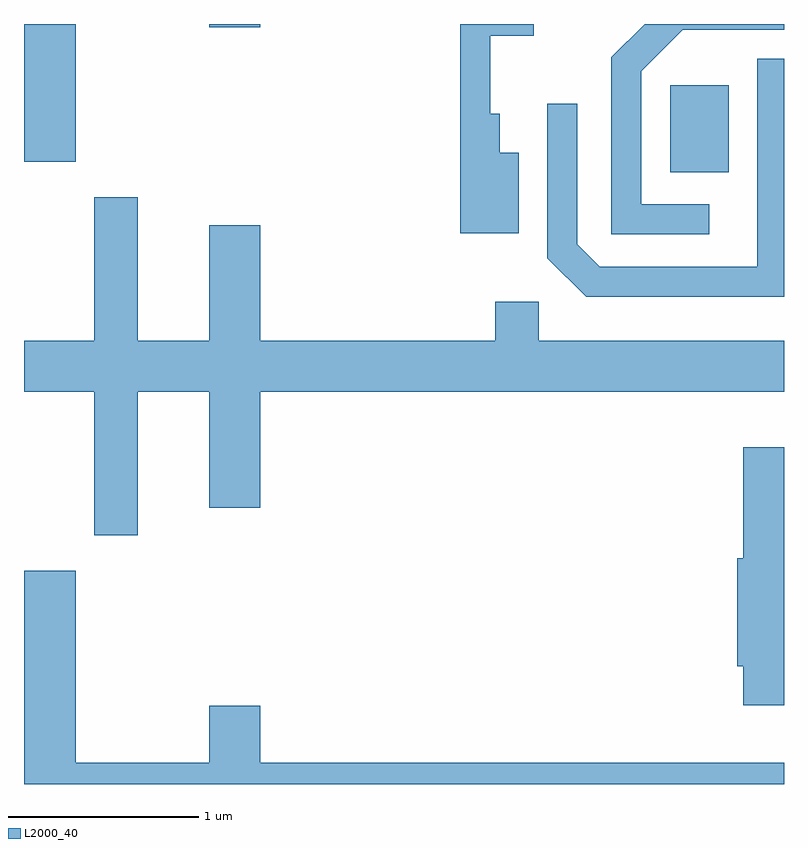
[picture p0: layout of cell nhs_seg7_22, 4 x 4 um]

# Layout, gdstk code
import gdstk
lib = gdstk.Library(unit=1e-6, precision=1e-09)
def R(c, l, rs):  # rectangles x0, y0, x1, y1
    for r in rs: c.add(gdstk.rectangle(r[:2], r[2:], *l))
def P(c, l, *ps):  # polygons
    for p in ps: c.add(gdstk.Polygon(p, *l))
L2000_40 = (2000, 40)

nhs_seg7_22 = lib.new_cell('nhs_seg7_22')
R(nhs_seg7_22, L2000_40, [(189.011,1715.471,189.319,1715.929), (185.611,1715.526,185.884,1716.252), (186.586,1716.236,186.854,1716.252)])
P(nhs_seg7_22, L2000_40, [(189.218,1715.304),(188.859,1715.304),(188.859,1716.004),(189.077,1716.221),(189.611,1716.221),(189.611,1716.252),(188.877,1716.252),(188.701,1716.077),(188.701,1715.146),(189.218,1715.146)],
  [(188.214,1715.574),(188.114,1715.574),(188.114,1715.779),(188.064,1715.779),(188.064,1716.191),(188.293,1716.191),(188.293,1716.252),(187.906,1716.252),(187.906,1715.151),(188.214,1715.151)],
  [(189.611,1716.069),(189.471,1716.069),(189.471,1714.974),(188.642,1714.974),(188.524,1715.092),(188.524,1715.833),(188.366,1715.833),(188.366,1715.019),(188.569,1714.816),(189.611,1714.816)],
  [(186.209,1714.316),(186.586,1714.316),(186.586,1713.706),(186.854,1713.706),(186.854,1714.316),(189.611,1714.316),(189.611,1714.584),(188.319,1714.584),(188.319,1714.789),(188.091,1714.789),(188.091,1714.584),(186.854,1714.584),(186.854,1715.194),(186.586,1715.194),(186.586,1714.584),(186.209,1714.584),(186.209,1715.339),(185.981,1715.339),(185.981,1714.584),(185.611,1714.584),(185.611,1714.316),(185.981,1714.316),(185.981,1713.561),(186.209,1713.561)],
  [(189.611,1714.024),(189.396,1714.024),(189.396,1713.439),(189.366,1713.439),(189.366,1712.871),(189.396,1712.871),(189.396,1712.666),(189.611,1712.666)],
  [(189.611,1712.364),(186.854,1712.364),(186.854,1712.664),(186.586,1712.664),(186.586,1712.364),(185.884,1712.364),(185.884,1713.374),(185.611,1713.374),(185.611,1712.252),(189.611,1712.252)])

lib.write_gds('nhs_seg7_22.gds')
